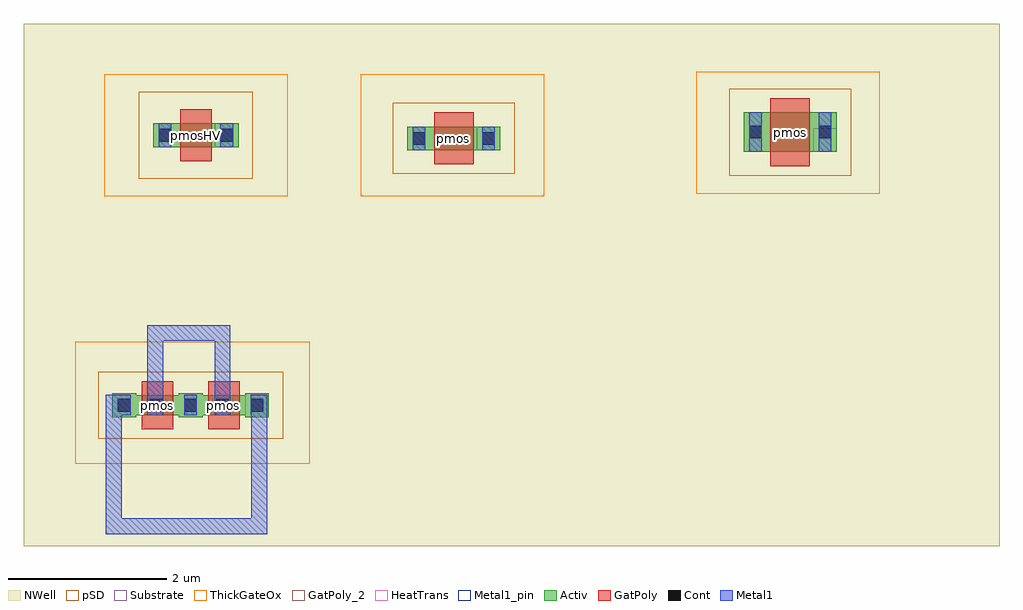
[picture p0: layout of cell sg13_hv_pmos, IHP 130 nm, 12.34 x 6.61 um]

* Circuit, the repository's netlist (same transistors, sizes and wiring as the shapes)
*==========================================================================
* Copyright 2024 IHP PDK Authors
*
* Licensed under the Apache License, Version 2.0 (the "License");
* you may not use this file except in compliance with the License.
* You may obtain a copy of the License at
*
*    https://www.apache.org/licenses/LICENSE-2.0
*
* Unless required by applicable law or agreed to in writing, software
* distributed under the License is distributed on an "AS IS" BASIS,
* WITHOUT WARRANTIES OR CONDITIONS OF ANY KIND, either express or implied.
* See the License for the specific language governing permissions and
* limitations under the License.
* SPDX-License-Identifier: Apache-2.0
*==========================================================================

.SUBCKT sg13_hv_pmos
MP1 D1 G1 S1 B sg13_hv_pmos m=1 w=0.3u l=0.4u ng=1
MP2 D2 G2 S2 B sg13_hv_pmos m=1 w=0.3u l=0.5u ng=1
MP3 D3 G3 S3 B sg13_hv_pmos m=1 w=0.5u l=0.5u ng=1
MP4 D4 G4 S4 B sg13_hv_pmos m=1 w=0.5u l=0.4u ng=2
.ENDS

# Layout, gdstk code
import gdstk
lib = gdstk.Library(unit=1e-6, precision=1e-09)
def R(c, l, rs):  # rectangles x0, y0, x1, y1
    for r in rs: c.add(gdstk.rectangle(r[:2], r[2:], *l))
def A(c, l, x, y, w, h, nx, ny, dx, dy):  # array of equal rectangles
    R(c, l, [(x+i*dx, y+j*dy, x+i*dx+w, y+j*dy+h) for i in range(nx) for j in range(ny)])
Activ = (1, 0)
GatPoly = (5, 0)
GatPoly_2 = (5, 2)
Cont = (6, 0)
Metal1 = (8, 0)
Metal1_pin = (8, 2)
pSD = (14, 0)
NWell = (31, 0)
Substrate = (40, 0)
ThickGateOx = (44, 0)
HeatTrans = (51, 0)

sg13_hv_pmos = lib.new_cell('sg13_hv_pmos')
A(sg13_hv_pmos, Activ, -0.517, -3.413, 0.3, 0.3, 3, 1, 0.84, 0)
R(sg13_hv_pmos, Activ, [(-0.517,-3.388,1.463,-3.138), (7.463,-0.06,7.763,0.24), (7.463,-0.06,8.643,0.44), (8.343,-0.06,8.643,0.24), (3.21,-0.04,3.51,0.26), (3.21,-0.04,4.39,0.26), (4.09,-0.04,4.39,0.26), (0,0,1.08,0.3), (0,0,0.3,0.3), (0.78,0,1.08,0.3)])
R(sg13_hv_pmos, GatPoly, [(-0.147,-3.568,0.253,-2.958), (-0.147,-3.568,0.253,-2.958), (-0.147,-3.568,0.253,-2.958), (0.693,-3.568,1.093,-2.958), (7.803,-0.24,8.303,0.62), (7.803,-0.24,8.303,0.62), (7.803,-0.24,8.303,0.62), (3.55,-0.22,4.05,0.44), (3.55,-0.22,4.05,0.44), (3.55,-0.22,4.05,0.44), (0.34,-0.18,0.74,0.48)])
R(sg13_hv_pmos, GatPoly_2, [(0.34,-0.18,0.74,0.48)])
R(sg13_hv_pmos, Cont, [(-0.447,-3.343,-0.287,-3.183), (-0.042,-3.343,0.118,-3.183), (0.393,-3.343,0.553,-3.183), (0.795,-3.343,0.955,-3.183), (1.233,-3.343,1.393,-3.183), (3.28,0.03,3.44,0.19), (4.16,0.03,4.32,0.19), (0.07,0.07,0.23,0.23), (0.85,0.07,1.01,0.23), (7.533,0.11,7.693,0.27), (8.413,0.11,8.573,0.27)])
R(sg13_hv_pmos, Metal1, [(-0.447,-3.393,-0.287,-3.133), (-0.447,-3.393,-0.287,-3.133), (-0.447,-3.393,-0.287,-3.133), (-0.042,-3.393,0.118,-3.133), (-0.042,-3.393,0.118,-3.133), (-0.042,-3.393,0.118,-3.133), (0.393,-3.393,0.553,-3.133), (0.393,-3.393,0.553,-3.133), (0.393,-3.393,0.553,-3.133), (0.795,-3.393,0.955,-3.133), (0.795,-3.393,0.955,-3.133), (0.795,-3.393,0.955,-3.133), (1.233,-3.393,1.393,-3.133), (7.533,-0.06,7.693,0.44), (7.533,-0.06,7.693,0.44), (7.533,-0.06,7.693,0.44), (8.413,-0.06,8.573,0.44), (8.413,-0.06,8.573,0.44), (8.413,-0.06,8.573,0.44), (3.28,-0.04,3.44,0.26), (3.28,-0.04,3.44,0.26), (3.28,-0.04,3.44,0.26), (4.16,-0.04,4.32,0.26), (4.16,-0.04,4.32,0.26), (4.16,-0.04,4.32,0.26), (0.07,0,0.23,0.3), (0.85,0,1.01,0.3)])
R(sg13_hv_pmos, Metal1_pin, [(0.07,0,0.23,0.3), (0.85,0,1.01,0.3)])
R(sg13_hv_pmos, pSD, [(-0.697,-3.688,1.643,-2.838), (-0.18,-0.4,1.26,0.7), (7.283,-0.36,8.823,0.74), (3.03,-0.34,4.57,0.56)])
R(sg13_hv_pmos, NWell, [(-1.64,-5.047,10.699,1.56), (-0.827,-3.723,1.773,-2.803), (-0.62,-0.62,1.7,0.92), (7.153,-0.37,8.953,0.75), (2.9,-0.35,4.7,0.57)])
R(sg13_hv_pmos, Substrate, [(1.163,-3.413,1.463,-3.113), (1.163,-3.413,1.463,-3.113), (8.343,-0.06,8.643,0.24), (8.343,-0.06,8.643,0.24), (4.09,-0.04,4.39,0.26), (4.09,-0.04,4.39,0.26), (0.78,0,1.08,0.3)])
R(sg13_hv_pmos, ThickGateOx, [(-0.983,-4.004,1.976,-2.464), (-0.62,-0.62,1.7,0.92), (2.623,-0.62,4.943,0.92), (6.868,-0.59,9.188,0.95)])
R(sg13_hv_pmos, HeatTrans, [(-0.147,-3.568,0.253,-2.958), (0.693,-3.568,1.093,-2.958), (7.803,-0.24,8.303,0.62), (3.55,-0.22,4.05,0.44), (0.34,-0.18,0.74,0.48)])
sg13_hv_pmos.add(gdstk.FlexPath([(1.339,-3.133),(1.339,-4.795),(-0.501,-4.795),(-0.501,-3.133)], 0.2, ends="flush", simple_path=True, layer=8, datatype=0))  # Metal1
sg13_hv_pmos.add(gdstk.FlexPath([(0.024,-3.393),(0.024,-2.351),(0.875,-2.351),(0.875,-3.393)], 0.2, ends="flush", simple_path=True, layer=8, datatype=0))  # Metal1
sg13_hv_pmos.add(gdstk.Label('pmos', (3.8,0.11), layer=63, texttype=0))
sg13_hv_pmos.add(gdstk.Label('pmos', (8.053,0.19), layer=63, texttype=0))
sg13_hv_pmos.add(gdstk.Label('pmos', (0.053,-3.263), layer=63, texttype=0))
sg13_hv_pmos.add(gdstk.Label('pmosHV', (0.54,0.15), layer=63, texttype=0))
sg13_hv_pmos.add(gdstk.Label('pmos', (3.8,0.11), layer=51, texttype=0))
sg13_hv_pmos.add(gdstk.Label('pmos', (8.053,0.19), layer=51, texttype=0))
sg13_hv_pmos.add(gdstk.Label('pmos', (0.053,-3.263), layer=51, texttype=0))
sg13_hv_pmos.add(gdstk.Label('pmos', (0.893,-3.263), layer=51, texttype=0))
sg13_hv_pmos.add(gdstk.Label('pmosHV', (0.54,0.15), layer=51, texttype=0))

lib.write_gds('sg13_hv_pmos.gds')
